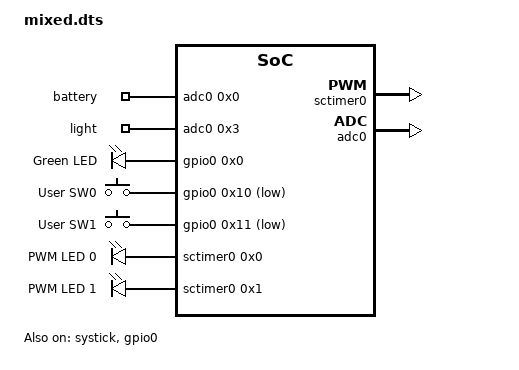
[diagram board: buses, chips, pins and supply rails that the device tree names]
/dts-v1/;

/* every class in one devicetree: two LEDs (one disabled), two buttons, two
 * PWM channels, two ADC channels of one controller, with aliases and labels */
/ {
	compatible = "synthetic,mixed-board";
	#address-cells = < 0x1 >;
	#size-cells = < 0x1 >;

	aliases {
		led0 = &led_0;
		sw0 = &button_0;
		sw1 = &button_1;
		pwm-led0 = &pwm_led0;
	};

	zephyr,user {
		io-channels = < &adc0 0x0 >, < &adc0 0x3 >;
		io-channel-names = "battery", "light";
	};

	soc {
		#address-cells = < 0x1 >;
		#size-cells = < 0x1 >;

		systick: timer@e000e010 {
			compatible = "arm,armv8m-systick";
			reg = < 0xe000e010 0x10 >;
			status = "okay";
		};

		gpio0: gpio@40000000 {
			compatible = "nxp,kinetis-gpio";
			reg = < 0x40000000 0x1000 >;
			gpio-controller;
			#gpio-cells = < 0x2 >;
			status = "okay";
		};

		sctimer0: pwm@40030000 {
			compatible = "nxp,sctimer-pwm";
			reg = < 0x40030000 0x1000 >;
			#pwm-cells = < 0x3 >;
			status = "okay";
		};

		adc0: adc@40040000 {
			compatible = "nxp,lpc-lpadc";
			reg = < 0x40040000 0x1000 >;
			#io-channel-cells = < 0x1 >;
			status = "okay";
		};
	};

	leds {
		compatible = "gpio-leds";

		led_0: led_0 {
			gpios = < &gpio0 0x0 0x0 >;
			label = "Green LED";
		};

		led_1: led_1 {
			gpios = < &gpio0 0x1 0x0 >;
			label = "Blue LED";
			status = "disabled";
		};
	};

	gpio_keys {
		compatible = "gpio-keys";

		button_0: button_0 {
			gpios = < &gpio0 0x10 0x11 >;
			label = "User SW0";
		};

		button_1: button_1 {
			gpios = < &gpio0 0x11 0x11 >;
			label = "User SW1";
		};
	};

	pwmleds {
		compatible = "pwm-leds";

		pwm_led0: pwm_led_0 {
			pwms = < &sctimer0 0x0 0x1e8480 0x0 >;
			label = "PWM LED 0";
		};

		pwm_led1: pwm_led_1 {
			pwms = < &sctimer0 0x1 0x1e8480 0x0 >;
			label = "PWM LED 1";
		};
	};
};
